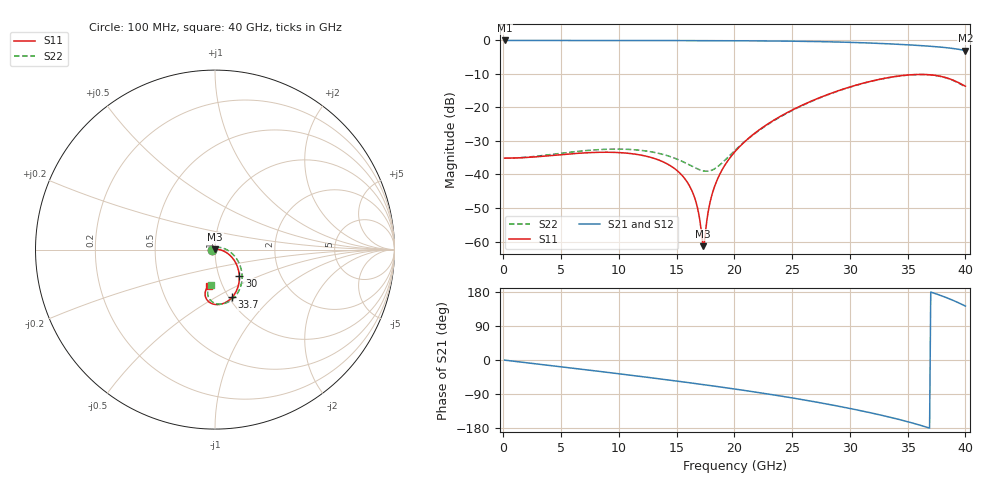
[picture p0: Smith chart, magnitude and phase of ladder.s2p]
! B_ts6_L1L6: via ladder as kisi uses it (kisi_si::via_pbm, graded grid, junction model), ports at the via
# Hz S RI R 50
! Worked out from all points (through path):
!   400 points, 100 MHz to 40 GHz, reference 50 ohm
!   highest |S21| = -0.15 dB at 100 MHz (marker M1); lowest = -3.2 dB at 40 GHz (marker M2)
!   group delay of S21, straight-line fit = 13.7 ps
!   lowest |S11| = -61.4 dB at 17.3 GHz (marker M3), VSWR 1.00, Z = 50 + j0.0825 ohm
!   |S11| at or under -10 dB: start of sweep to end of sweep
!   |S22| runs from -39.1 to -10.3 dB; largest |S21 - S12| = 0
!   S11 on the Smith chart (normalised r, x): 100 MHz: 0.97, -0.00; 30 GHz: 1.25, -0.38; 33.7 GHz: 1.04, -0.60; 40 GHz: 0.86, -0.36
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1e8  -0.0174 -0.000134  0.9825 -0.00614  0.9825 -0.00614  -0.0174 -0.000137
6.8e9  -0.0195 -0.00717  0.8933 -0.4072  0.8933 -0.4072  -0.0213 -0.00652
1.06e10  -0.0196 -0.00676  0.7666 -0.6114  0.7666 -0.6114  -0.0233 -0.00414
1.34e10  -0.016 -0.00395  0.6388 -0.7423  0.6388 -0.7423  -0.0206 0.00107
1.51e10  -0.011 -0.00167  0.5473 -0.8108  0.5473 -0.8108  -0.0159 0.00514
1.62e10  -0.0063 -0.000265  0.4826 -0.8499  0.4826 -0.8499  -0.0111 0.0078
1.68e10  -0.00316 0.000386  0.4455 -0.8693  0.4455 -0.8693  -0.00785 0.00917
1.7e10  -0.00203 0.000574  0.4329 -0.8755  0.4329 -0.8755  -0.00666 0.00959
1.73e10  -0.000221 0.000826  0.4137 -0.8844  0.4137 -0.8844  -0.00477 0.0102
1.74e10  0.000406 0.0009  0.4073 -0.8872  0.4073 -0.8872  -0.00411 0.0104
1.76e10  0.0017 0.00103  0.3942 -0.8929  0.3942 -0.8929  -0.00276 0.0108
1.78e10  0.00303 0.00114  0.3811 -0.8983  0.3811 -0.8983  -0.00134 0.0111
1.82e10  0.00587 0.00128  0.3543 -0.9087  0.3543 -0.9087  0.00167 0.0118
1.9e10  0.0122 0.0012  0.2993 -0.9272  0.2993 -0.9272  0.00841 0.0126
2.01e10  0.0223 1.98e-05  0.2205 -0.9473  0.2205 -0.9473  0.0193 0.0128
2.28e10  0.0538 -0.011  0.0129 -0.9663  0.0129 -0.9663  0.0538 0.00472
2.67e10  0.1078 -0.0612  -0.3078 -0.8977  -0.3078 -0.8977  0.1146 -0.0431
3e10  0.1355 -0.1466  -0.5655 -0.727  -0.5655 -0.727  0.1497 -0.1299
3.34e10  0.1027 -0.2569  -0.7617 -0.4304  -0.7617 -0.4304  0.1234 -0.2462
3.37e10  0.0956 -0.2655  -0.7732 -0.3985  -0.7732 -0.3985  0.1167 -0.2556
3.73e10  -0.0248 -0.2975  -0.7955 0.0522  -0.7955 0.0522  -0.00522 -0.2969
4e10  -0.0341 -0.202  -0.5493 0.4258  -0.5493 0.4258  -0.0228 -0.1993
